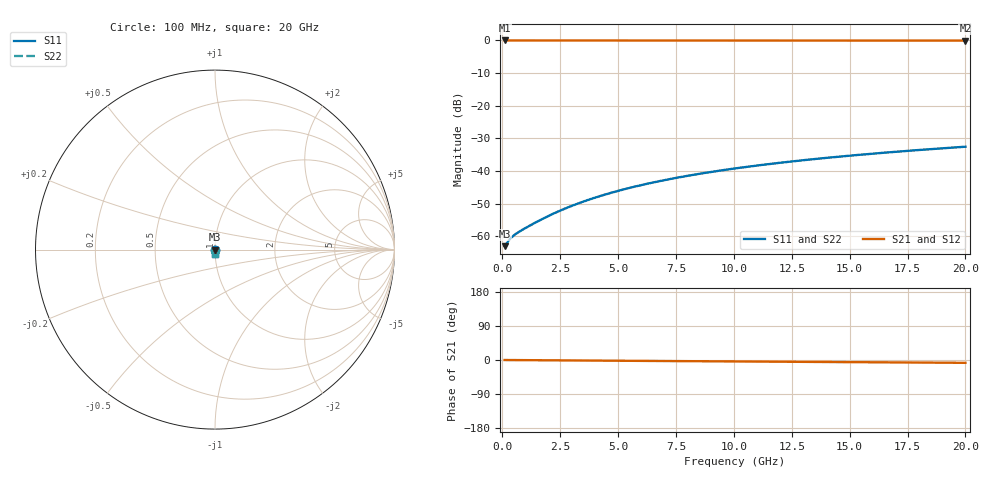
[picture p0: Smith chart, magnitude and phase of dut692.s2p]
! Touchstone file exported from HFSS 2026.1.0
!  File:  C:/ffzhzh/LocalFiles/Ansys_Project_Files/temp_train_BSMRDL_692_1783017715_55676.aedt
!  Generated:  02:43:13 AM Jul  3, 2026
!  Design:  BSMRDL
!  Project:  temp_train_BSMRDL_692_1783017715_55676
! Variables:
!  h_bsmrdl = 4.4um
!  h_ox = 20um
!  h_rdl = 5um
!  h_sub = 80um
!  h_tmrdl = 5um
!  h_tsv = 80um
!  h_via = 3um
!  l_bsmrdl = 124.42um
!  l_sub = 524.42um
!  l_tmrdl = 200um
!  m_sub = 200um
!  pitch = 22.35um
!  r_tsv = 6um
!  s_tmrdl = 10um
!  w_bsmrdl = 19.67um
!  w_sub = 500um
!  w_tmrdl = 12um
!  x_tsv_center1 = 206um
!  x_tsv_center2 = 350.09um
!  x_tsv_center3 = 562.09um
!  x_tsv_center4 = 706.18um
!  x_tsv_center5 = 918.18um
!  x_tsv_center6 = 1062.27um
# GHz S MA R 50.000000
! Terminal data exported
! Port[1] = BSM_RDL1_1_T1
! Port[2] = BSM_RDL1_1_T2
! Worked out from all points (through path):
!   200 points, 100 MHz to 20 GHz, reference 50 ohm
!   highest |S21| = -0.01 dB at 100 MHz (marker M1); lowest = 0.0 dB at 20 GHz (marker M2)
!   group delay of S21, straight-line fit = 1.03 ps
!   lowest |S11| = -63.0 dB at 100 MHz (marker M3), VSWR 1.00, Z = 50.1 + j0.00562 ohm
!   |S11| at or under -10 dB: start of sweep to end of sweep
!   |S22| runs from -63.0 to -32.6 dB; largest |S21 - S12| = 5.4e-15
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0.1  0.0007042 4.6  0.9993 -0.0  0.9993 -0.0  0.0007042 4.6
! Gamma 0 0 0 0
! Port Impedance 50 0 50 0
0.3  0.0008814 1.8  0.9991 -0.1  0.9991 -0.1  0.0008814 1.8
0.4  0.0009618 -2.7  0.999 -0.2  0.999 -0.2  0.0009618 -2.7
0.5  0.001032 -7.5  0.999 -0.2  0.999 -0.2  0.001032 -7.5
0.6  0.001095 -12.1  0.9989 -0.3  0.9989 -0.3  0.001095 -12.1
1  0.001336 -27.3  0.9988 -0.4  0.9988 -0.4  0.001336 -27.3
1.6  0.001742 -41.8  0.9987 -0.6  0.9987 -0.6  0.001742 -41.8
2.2  0.002213 -50.3  0.9986 -0.9  0.9986 -0.9  0.002213 -50.3
2.8  0.002735 -55.7  0.9984 -1.1  0.9984 -1.1  0.002735 -55.7
3.5  0.003396 -59.9  0.9982 -1.4  0.9982 -1.4  0.003396 -59.9
4.2  0.004102 -62.8  0.998 -1.6  0.998 -1.6  0.004102 -62.8
5  0.004954 -65.4  0.9978 -1.9  0.9978 -1.9  0.004954 -65.4
5.9  0.005958 -67.7  0.9975 -2.3  0.9975 -2.3  0.005958 -67.7
6.8  0.006998 -69.7  0.9972 -2.6  0.9972 -2.6  0.006998 -69.7
7.6  0.007945 -71.2  0.997 -2.9  0.997 -2.9  0.007946 -71.2
8.4  0.008909 -72.5  0.9968 -3.2  0.9968 -3.2  0.008909 -72.5
10.1  0.01099 -75.0  0.9964 -3.8  0.9964 -3.8  0.01099 -75.0
11.7  0.01298 -77.1  0.996 -4.4  0.996 -4.4  0.01298 -77.0
13.4  0.01512 -78.9  0.9957 -5.1  0.9957 -5.1  0.01512 -78.9
15  0.01714 -80.5  0.9954 -5.6  0.9954 -5.6  0.01714 -80.5
16.7  0.0193 -82.0  0.995 -6.3  0.995 -6.3  0.01931 -82.0
20  0.02352 -84.5  0.9944 -7.5  0.9944 -7.5  0.02352 -84.5
